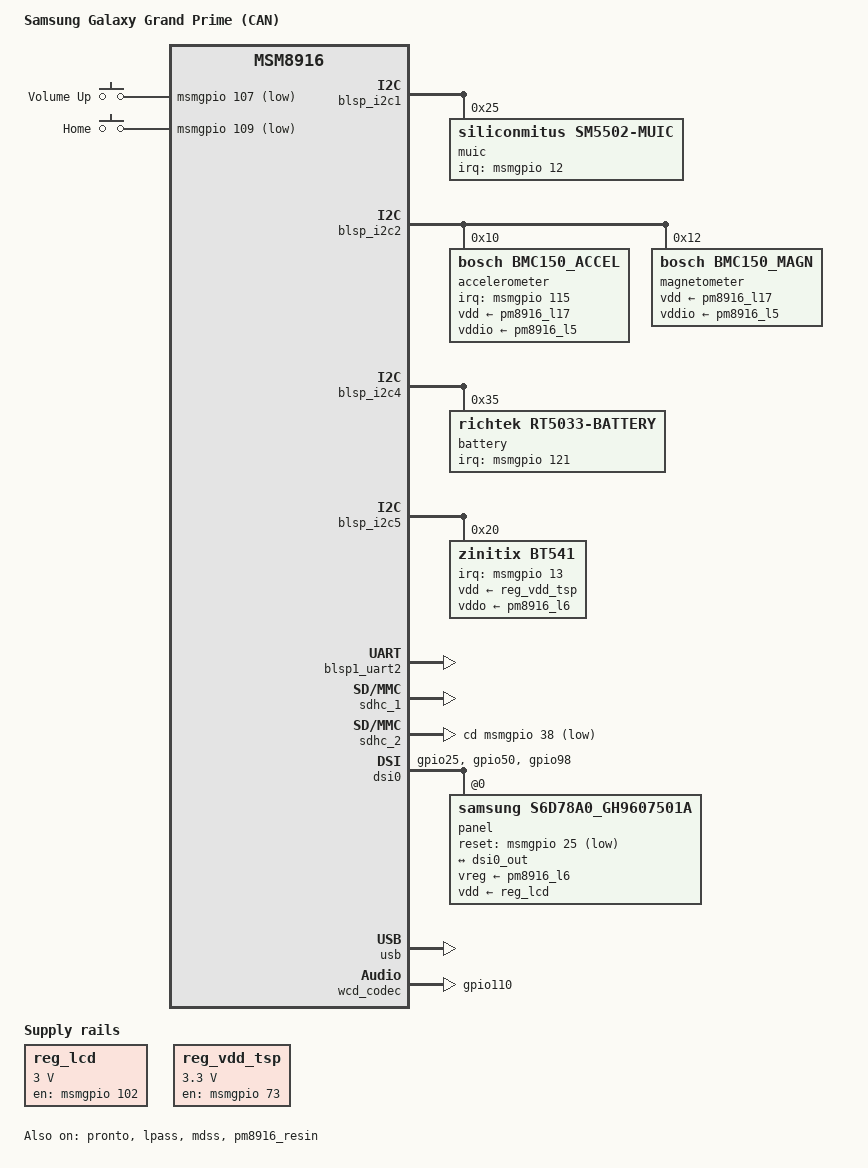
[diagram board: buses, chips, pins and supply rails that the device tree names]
// SPDX-License-Identifier: GPL-2.0-only

/dts-v1/;

#include "msm8916-pm8916.dtsi"
#include "arm/qcom-msm8916-no-psci.dtsi"
#include <dt-bindings/gpio/gpio.h>
#include <dt-bindings/interrupt-controller/irq.h>
#include <dt-bindings/sound/apq8016-lpass.h>

/ {
	model = "Samsung Galaxy Grand Prime (CAN)";
	compatible = "samsung,gprimeltecan", "qcom,msm8916";

	aliases {
		serial0 = &blsp1_uart2;
	};

	chosen {
		stdout-path = "serial0";
	};
		reg_lcd: regulator-lcd {
		compatible = "regulator-fixed";
		regulator-name = "lcd_ldo";
		regulator-min-microvolt = <3000000>;
		regulator-max-microvolt = <3000000>;

		gpio = <&msmgpio 102 GPIO_ACTIVE_HIGH>;
		enable-active-high;

		pinctrl-names = "default";
		pinctrl-0 = <&reg_lcd_en_default>;
	};
	
	reg_vdd_tsp: regulator-vdd-tsp {
		compatible = "regulator-fixed";
		regulator-name = "vdd_tsp";
		regulator-min-microvolt = <3300000>;
		regulator-max-microvolt = <3300000>;

		gpio = <&msmgpio 73 0>;
		enable-active-high;

		pinctrl-names = "default";
		pinctrl-0 = <&tsp_en_default>;
	};
	
	reserved-memory {
		/* Additional memory used by Samsung firmware modifications */
		tz-apps@85500000 {
			reg = <0x0 0x85500000 0x0 0xb00000>;
			no-map;
		};

		/delete-node/ wcnss@89300000;
		/delete-node/ venus@89900000;

		mpss_mem: mpss@86800000 {
			status = "disabled";
			reg = <0x0 0x86800000 0x0 0x5400000>;
			no-map;
		};

		gps_mem: gps@8bc00000 {
			status = "disabled";
			reg = <0x0 0x8bc00000 0x0 0x200000>;
			no-map;
		};

		wcnss_mem: wcnss@8be00000 {
			reg = <0x0 0x8be00000 0x0 0x600000>;
			no-map;
		};

		venus_mem: venus@8c400000 {
			reg = <0x0 0x8c400000 0x0 0x600000>;
			no-map;
		};
	};
	
    gpio-keys {
		compatible = "gpio-keys";

		pinctrl-names = "default";
		pinctrl-0 = <&gpio_keys_default>;

		label = "GPIO Buttons";

		volume-up {
			label = "Volume Up";
			gpios = <&msmgpio 107 GPIO_ACTIVE_LOW>;
			linux,code = <KEY_VOLUMEUP>;
		};

		home {
			label = "Home";
			gpios = <&msmgpio 109 GPIO_ACTIVE_LOW>;
			linux,code = <KEY_HOMEPAGE>;
		};
	};
};

&blsp_i2c1 {
	status = "okay";

	muic: extcon@25 {
		compatible = "siliconmitus,sm5502-muic";

		reg = <0x25>;
		interrupt-parent = <&msmgpio>;
		interrupts = <12 IRQ_TYPE_EDGE_FALLING>;

		pinctrl-names = "default";
		pinctrl-0 = <&muic_int_default>;
	};
};


&blsp_i2c2 {
	status = "okay";

	accelerometer: accelerometer@10 {
		compatible = "bosch,bmc150_accel";
		reg = <0x10>;
		interrupt-parent = <&msmgpio>;
		interrupts = <115 IRQ_TYPE_EDGE_RISING>;
		
        vdd-supply = <&pm8916_l17>;
		vddio-supply = <&pm8916_l5>;

		pinctrl-names = "default";
		pinctrl-0 = <&accel_int_default>;
	};

	magnetometer@12 {
		compatible = "bosch,bmc150_magn";
		reg = <0x12>;
		
		vdd-supply = <&pm8916_l17>;
		vddio-supply = <&pm8916_l5>;
	};
};

&blsp_i2c4 {
	status = "okay";

	battery@35 {
		compatible = "richtek,rt5033-battery";
		reg = <0x35>;
		interrupt-parent = <&msmgpio>;
		interrupts = <121 IRQ_TYPE_EDGE_BOTH>;

		pinctrl-names = "default";
		pinctrl-0 = <&fg_alert_default>;
	};
};

&blsp_i2c5 {
	status = "okay";

	bt541@20 {
		compatible = "zinitix,bt541";
		reg = <0x20>;
		interrupt-parent = <&msmgpio>;
		interrupts = <13 IRQ_TYPE_EDGE_FALLING>;
		pinctrl-names = "default";
		pinctrl-0 = <&tsp_int_default>;
		vdd-supply = <&reg_vdd_tsp>;
		vddo-supply = <&pm8916_l6>;
		touchscreen-size-x = <540>;
		touchscreen-size-y = <960>;
	};
};

&blsp1_uart2 {
	status = "okay";
};

&pronto {
	status = "okay";
};

&sdhc_1 {
	status = "okay";

	pinctrl-names = "default", "sleep";
	pinctrl-0 = <&sdc1_clk_on &sdc1_cmd_on &sdc1_data_on>;
	pinctrl-1 = <&sdc1_clk_off &sdc1_cmd_off &sdc1_data_off>;
};

&sdhc_2 {
	status = "okay";

	pinctrl-names = "default", "sleep";
	pinctrl-0 = <&sdc2_clk_on &sdc2_cmd_on &sdc2_data_on &sdc2_cd_on>;
	pinctrl-1 = <&sdc2_clk_off &sdc2_cmd_off &sdc2_data_off &sdc2_cd_off>;

	cd-gpios = <&msmgpio 38 GPIO_ACTIVE_LOW>;
};

&accelerometer {
	mount-matrix = "0", "-1", "0",
			"-1", "0", "0",
			"0", "0", "1";
};

&dsi0 {
	pinctrl-names = "default", "sleep";
	pinctrl-0 = <&mdss_default &bl_hack>;
	pinctrl-1 = <&mdss_sleep &bl_hack>;

	panel@0 {
		compatible = "samsung,s6d78a0_gh9607501a";
		reg = <0>;
		vreg-supply = <&pm8916_l6>;
		vdd-supply = <&reg_lcd>;
		reset-gpios = <&msmgpio 25 GPIO_ACTIVE_LOW>;

		port {
			panel_in: endpoint {
				remote-endpoint = <&dsi0_out>;
			};
		};
	};
};

&dsi0_out {
	data-lanes = <0 1>;
	remote-endpoint = <&panel_in>;
};

&lpass {
	status = "okay";
};

&mdss {
	status = "okay";
};

&pm8916_resin {
	status = "okay";
	linux,code = <KEY_VOLUMEDOWN>;
};

&sound {
	status = "okay";

	pinctrl-names = "default", "sleep";
	pinctrl-0 = <&cdc_pdm_lines_act>;
	pinctrl-1 = <&cdc_pdm_lines_sus>;

	model = "msm8916";
	audio-routing =
		"AMIC1", "MIC BIAS External1",
		"AMIC2", "MIC BIAS Internal2",
		"AMIC3", "MIC BIAS External1";

	dai-link-primary {
		link-name = "Primary MI2S";
		cpu {
			sound-dai = <&lpass MI2S_PRIMARY>;
		};
		codec {
			sound-dai = <&lpass_codec 0>, <&wcd_codec 0>;
		};
	};

	dai-link-tertiary {
		link-name = "Tertiary MI2S";
		cpu {
			sound-dai = <&lpass MI2S_TERTIARY>;
		};
		codec {
			sound-dai = <&lpass_codec 1>, <&wcd_codec 1>;
		};
	};
};

&usb {
	status = "okay";
	extcon = <&muic>, <&muic>;
};

&usb_hs_phy {
	extcon = <&muic>;
};

&wcd_codec {
	jack-gpios = <&msmgpio 110 GPIO_ACTIVE_LOW>;
	qcom,micbias-lvl = <2800>;
	qcom,mbhc-vthreshold-low = <75 150 237 450 500>;
	qcom,mbhc-vthreshold-high = <75 150 237 450 500>;

	pinctrl-names = "default";
	pinctrl-0 = <&jack_default>;
};

&smd_rpm_regulators {
	vdd_l1_l2_l3-supply = <&pm8916_s3>;
	vdd_l4_l5_l6-supply = <&pm8916_s4>;
	vdd_l7-supply = <&pm8916_s4>;

	s3 {
		regulator-min-microvolt = <1200000>;
		regulator-max-microvolt = <1300000>;
	};

	s4 {
		regulator-min-microvolt = <1800000>;
		regulator-max-microvolt = <2100000>;
	};

	l1 {
		regulator-min-microvolt = <1225000>;
		regulator-max-microvolt = <1225000>;
	};

	l2 {
		regulator-min-microvolt = <1200000>;
		regulator-max-microvolt = <1200000>;
	};

	l4 {
		regulator-min-microvolt = <2050000>;
		regulator-max-microvolt = <2050000>;
	};

	l5 {
		regulator-min-microvolt = <1800000>;
		regulator-max-microvolt = <1800000>;
	};

	l6 {
		regulator-min-microvolt = <1800000>;
		regulator-max-microvolt = <1800000>;
	};

	l7 {
		regulator-min-microvolt = <1800000>;
		regulator-max-microvolt = <1800000>;
	};

	l8 {
		regulator-min-microvolt = <2850000>;
		regulator-max-microvolt = <2900000>;
	};

	l9 {
		regulator-min-microvolt = <3300000>;
		regulator-max-microvolt = <3300000>;
	};

	l10 {
		regulator-min-microvolt = <2700000>;
		regulator-max-microvolt = <2800000>;
	};

	l11 {
		regulator-min-microvolt = <1800000>;
		regulator-max-microvolt = <2950000>;
		regulator-allow-set-load;
		regulator-system-load = <200000>;
	};

	l12 {
		regulator-min-microvolt = <1800000>;
		regulator-max-microvolt = <2950000>;
	};

	l13 {
		regulator-min-microvolt = <3075000>;
		regulator-max-microvolt = <3075000>;
	};

	l14 {
		regulator-min-microvolt = <1800000>;
		regulator-max-microvolt = <3300000>;
	};

	l15 {
		regulator-min-microvolt = <1800000>;
		regulator-max-microvolt = <3300000>;
	};

	l16 {
		regulator-min-microvolt = <1800000>;
		regulator-max-microvolt = <3300000>;
	};

	l17 {
		regulator-min-microvolt = <2850000>;
		regulator-max-microvolt = <2850000>;
	};

	l18 {
		regulator-min-microvolt = <2700000>;
		regulator-max-microvolt = <2700000>;
	};
};

&msmgpio {

	reg_lcd_en_default: reg_lcd_en_default {
		pins = "gpio102";
		function = "gpio";

		drive-strength = <2>;
		bias-disable;
	};
	
	bl_hack: bl-hack {
		pins = "gpio50", "gpio98";
		function = "gpio";

		drive-strength = <2>;
		bias-disable;
		output-high;
	};

	jack_default: jack-default {
		pins = "gpio110";
		function = "gpio";

		drive-strength = <2>;
		bias-disable;
	};	

	mdss {
		mdss_default: mdss-default {
			pins = "gpio25";
			function = "gpio";

			drive-strength = <2>;
			bias-disable;
		};
		mdss_sleep: mdss-sleep {
			pins = "gpio25";
			function = "gpio";

			drive-strength = <2>;
			bias-pull-down;
		};
	};
	
    accel_int_default: accel-int-default {
		pins = "gpio115";
		function = "gpio";

		drive-strength = <2>;
		bias-disable;
	};
	
	fg_alert_default: fg-alert-default {
		pins = "gpio121";
		function = "gpio";

		drive-strength = <2>;
		bias-disable;
	};
	
    gpio_keys_default: gpio-keys-default {
		pins = "gpio107", "gpio109";
		function = "gpio";

		drive-strength = <2>;
		bias-pull-up;
	};

    tsp_en_default: tsp_en_default {
		pinmux {
			function = "gpio";
			pins = "gpio73";
		};
		pinconf {
			pins = "gpio73";
			drive-strength = <2>;
			bias-disable;
		};
	};

	tsp_int_default: tsp_int_default {
		pinmux {
			function = "gpio";
			pins = "gpio13";
		};
		pinconf {
			pins = "gpio13";
			drive-strength = <2>;
			bias-disable;
		};
	};

	muic_int_default: muic-int-default {
		pins = "gpio12";
		function = "gpio";

		drive-strength = <2>;
		bias-disable;
	};
};
